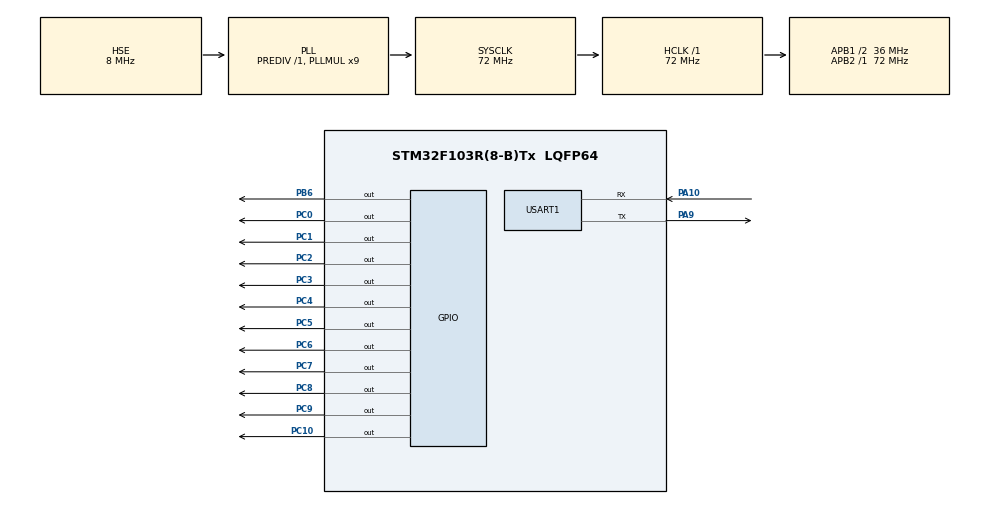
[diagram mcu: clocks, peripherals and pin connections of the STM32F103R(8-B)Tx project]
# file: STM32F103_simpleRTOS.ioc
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Mcu.Family=STM32F1
Mcu.Name=STM32F103R(8-B)Tx
Mcu.Package=LQFP64
NVIC.PriorityGroup=NVIC_PRIORITYGROUP_4
NVIC.USART1_IRQn=true\:0\:0\:false\:false\:true\:true\:true\:true
PA10.Mode=Asynchronous
PA10.Signal=USART1_RX
PA13.Mode=Serial_Wire
PA13.Signal=SYS_JTMS-SWDIO
PA14.Mode=Serial_Wire
PA14.Signal=SYS_JTCK-SWCLK
PA9.Mode=Asynchronous
PA9.Signal=USART1_TX
PB6.PinState=GPIO_PIN_SET
PB6.Signal=GPIO_Output
PC0.Signal=GPIO_Output
PC1.Signal=GPIO_Output
PC10.Signal=GPIO_Output
PC2.Signal=GPIO_Output
PC3.Signal=GPIO_Output
PC4.Signal=GPIO_Output
PC5.Signal=GPIO_Output
PC6.Signal=GPIO_Output
PC7.Signal=GPIO_Output
PC8.Signal=GPIO_Output
PC9.Signal=GPIO_Output
PD0-OSC_IN.Mode=HSE-External-Oscillator
PD0-OSC_IN.Signal=RCC_OSC_IN
PD1-OSC_OUT.Mode=HSE-External-Oscillator
PD1-OSC_OUT.Signal=RCC_OSC_OUT
ProjectManager.HeapSize=0x200
ProjectManager.StackSize=0x400
ProjectManager.TargetToolchain=STM32CubeIDE
RCC.AHBFreq_Value=72000000
RCC.APB1CLKDivider=RCC_HCLK_DIV2
RCC.APB1Freq_Value=36000000
RCC.APB1TimFreq_Value=72000000
RCC.APB2Freq_Value=72000000
RCC.APB2TimFreq_Value=72000000
RCC.HCLKFreq_Value=72000000
RCC.PLLMUL=RCC_PLL_MUL9
RCC.PLLSourceVirtual=RCC_PLLSOURCE_HSE
RCC.SYSCLKFreq_VALUE=72000000
RCC.SYSCLKSource=RCC_SYSCLKSOURCE_PLLCLK
RCC.USBFreq_Value=72000000
USART1.VirtualMode=VM_ASYNC
board=custom

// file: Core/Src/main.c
/* USER CODE BEGIN Header */
/**
  ******************************************************************************
  * @file           : main.c
  * @brief          : Main program body
  ******************************************************************************
  * @attention
  *
  * Copyright (c) 2023 STMicroelectronics.
  * All rights reserved.
  *
  * This software is licensed under terms that can be found in the LICENSE file
  * in the root directory of this software component.
  * If no LICENSE file comes with this software, it is provided AS-IS.
  *
  ******************************************************************************
  */
/* USER CODE END Header */
#include "main.h"
#include "usart.h"
#include "gpio.h"

/* USER CODE BEGIN Includes */
#include <stdbool.h>
#include <string.h>
#include "kernel.h"
#include "task.h"
#include "lcd.h"
/* USER CODE END Includes */

void SystemClock_Config(void);

/* USER CODE BEGIN 0 */
static void Kernel_init(void);

void User_task0(void);
void User_task1(void);
void User_task2(void);

void HAL_Delay(uint32_t Delay);
/* USER CODE END 0 */

int main(void)
{
  /* USER CODE BEGIN 1 */
  //JIRA와 github 연동 테스트 1
  /* USER CODE END 1 */

  /* MCU Configuration--------------------------------------------------------*/

  /* Reset of all peripherals, Initializes the Flash interface and the Systick. */
  HAL_Init();

  /* Configure the system clock */
  SystemClock_Config();

  /* Initialize all configured peripherals */
  MX_GPIO_Init();
  MX_USART1_UART_Init();
  /* USER CODE BEGIN 2 */
  LL_USART_EnableIT_RXNE(USART1);
  vPrintString("simpleRTOS starting ... \r\n");
  Kernel_init();
  /* USER CODE END 2 */

  /* Infinite loop */
  while (1)
  {

  }
}

void SystemClock_Config(void)
{
  RCC_OscInitTypeDef RCC_OscInitStruct = {0};
  RCC_ClkInitTypeDef RCC_ClkInitStruct = {0};

  /** Initializes the RCC Oscillators according to the specified parameters
  * in the RCC_OscInitTypeDef structure.
  */
  RCC_OscInitStruct.OscillatorType = RCC_OSCILLATORTYPE_HSE;
  RCC_OscInitStruct.HSEState = RCC_HSE_ON;
  RCC_OscInitStruct.HSEPredivValue = RCC_HSE_PREDIV_DIV1;
  RCC_OscInitStruct.HSIState = RCC_HSI_ON;
  RCC_OscInitStruct.PLL.PLLState = RCC_PLL_ON;
  RCC_OscInitStruct.PLL.PLLSource = RCC_PLLSOURCE_HSE;
  RCC_OscInitStruct.PLL.PLLMUL = RCC_PLL_MUL9;
  if (HAL_RCC_OscConfig(&RCC_OscInitStruct) != HAL_OK)
  {
    Error_Handler();
  }

  /** Initializes the CPU, AHB and APB buses clocks
  */
  RCC_ClkInitStruct.ClockType = RCC_CLOCKTYPE_HCLK|RCC_CLOCKTYPE_SYSCLK
                              |RCC_CLOCKTYPE_PCLK1|RCC_CLOCKTYPE_PCLK2;
  RCC_ClkInitStruct.SYSCLKSource = RCC_SYSCLKSOURCE_PLLCLK;
  RCC_ClkInitStruct.AHBCLKDivider = RCC_SYSCLK_DIV1;
  RCC_ClkInitStruct.APB1CLKDivider = RCC_HCLK_DIV2;
  RCC_ClkInitStruct.APB2CLKDivider = RCC_HCLK_DIV1;

  if (HAL_RCC_ClockConfig(&RCC_ClkInitStruct, FLASH_LATENCY_2) != HAL_OK)
  {
    Error_Handler();
  }
}

/* USER CODE BEGIN 4 */
static void Kernel_init(void)
{
	uint32_t taskId;

	Kernel_task_init();
	Kernel_event_flag_init();
	Kernel_msgQ_init();

	taskId = Kernel_task_create(User_task0);
	if(NOT_ENOUGH_TASK_NUM == taskId){
		vPrintString("Task0 creation fail \r\n");
	}

	taskId = Kernel_task_create(User_task1);
	if(NOT_ENOUGH_TASK_NUM == taskId){
		vPrintString("Task1 creation fail \r\n");
	}

	taskId = Kernel_task_create(User_task2);
	if(NOT_ENOUGH_TASK_NUM == taskId){
		vPrintString("Task2 creation fail \r\n");
	}

	Kernel_start();
}

void User_task0(void)
{
	vPrintString("User task #0 \r\n");

	uint8_t cmdBuf[16];
	uint32_t cmdBufIdx = 0;
	uint8_t uartch= 0;

	while(true){
		KernelEventFlag_t handle_event = Kernel_wait_events(KernelEventFlag_UartIn);
		switch(handle_event){
		case KernelEventFlag_UartIn:
			//vPrintString("\r\nEvent handled \r\n");
			Kernel_recv_msg(KernelMsgQ_Task0, &uartch, 1);
			if(uartch == '\n'){
				cmdBuf[cmdBufIdx] = '\0';

				//Kernel_send_msg(KernelMsgQ_Task1, &cmdBufIdx, 1);
				//Kernel_send_msg(KernelMsgQ_Task1, cmdBuf, cmdBufIdx);
				//Kernel_send_events(KernelEventFlag_CmdIn);
				while(true){
					Kernel_send_events(KernelEventFlag_CmdIn);
					if(false == Kernel_send_msg(KernelMsgQ_Task1, &cmdBufIdx, 1)){
						Kernel_yield();
					}
					else if(false == Kernel_send_msg(KernelMsgQ_Task1, cmdBuf, cmdBufIdx)){
						uint8_t rollback;
						Kernel_recv_msg(KernelMsgQ_Task1, &rollback, 1);
						Kernel_yield();
					}
					else{
						break;
					}
				}

				cmdBufIdx = 0;
			}
			else{
				cmdBuf[cmdBufIdx] = uartch;
				cmdBufIdx++;
				cmdBufIdx %= 16;
			}
			break;
		case KernelEventFlag_Empty:
			break;
		default:
			break;
		}
		Kernel_yield();
	}
}

void User_task1(void)
{
	vPrintString("User task #1 \r\n");

	DispInit(2, 16);
	DispStr(0, 0, "simpleRTOS      ");
	DispStr(1, 0, "                ");

	uint8_t cmdlen = 0;
	uint8_t cmd[16] = {0};

	while(true){
		KernelEventFlag_t handle_event = Kernel_wait_events(KernelEventFlag_CmdIn);
		switch(handle_event){
		case KernelEventFlag_CmdIn:
			memset(cmd, 0, 16);
			Kernel_recv_msg(KernelMsgQ_Task1, &cmdlen, 1);
			Kernel_recv_msg(KernelMsgQ_Task1, cmd, cmdlen);
			vPrintString("\r\nRecv Cmd : ");
			vPrintString((const char*)cmd);
			DispStr(1, 0, "                ");
			DispStr(1, 0, (char*)cmd);
			break;
		case KernelEventFlag_Empty:
			break;
		default:
			break;
		}
		Kernel_yield();
	}
}

void User_task2(void)
{
	vPrintString("User task #2 \r\n");

	while(true){
		HAL_GPIO_TogglePin(GPIOB, GPIO_PIN_6);
		HAL_Delay(1000);
		//Kernel_yield();
	}
}

void HAL_Delay(uint32_t Delay)
{
  uint32_t tickstart = HAL_GetTick();
  uint32_t wait = Delay;

  /* Add a freq to guarantee minimum wait */
  if (wait < HAL_MAX_DELAY)
  {
    wait += (uint32_t)(uwTickFreq);
  }

  while ((HAL_GetTick() - tickstart) < wait)
  {
	  Kernel_yield();
  }
}
/* USER CODE END 4 */

void Error_Handler(void)
{
  __disable_irq();
  while (1)
  {
  }
}
